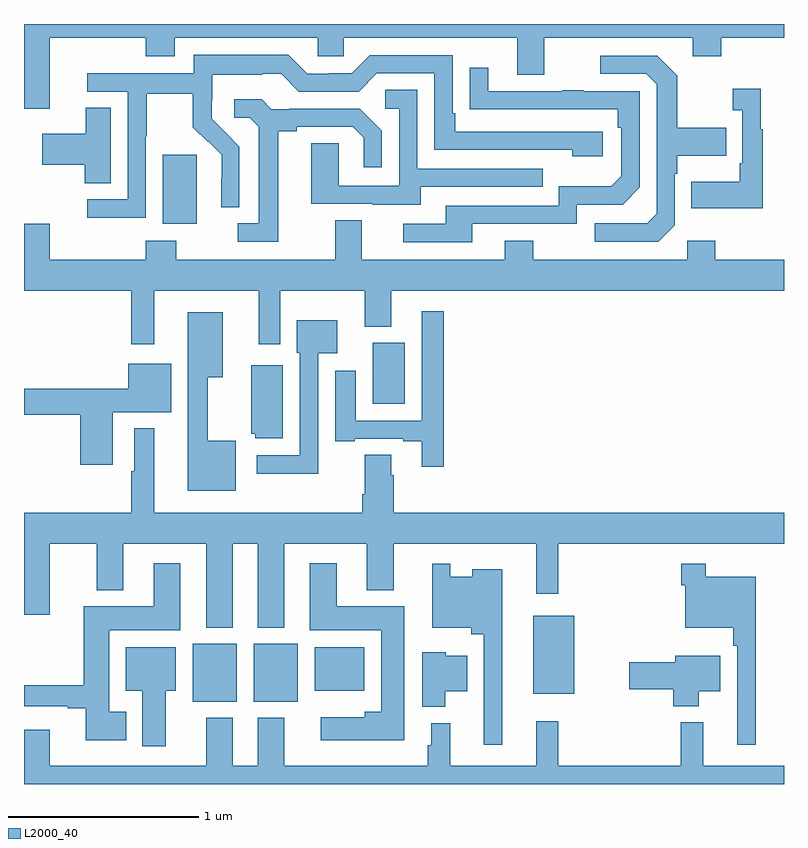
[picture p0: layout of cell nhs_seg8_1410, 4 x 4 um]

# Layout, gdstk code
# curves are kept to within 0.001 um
import gdstk
lib = gdstk.Library(unit=1e-6, precision=1e-09)
def R(c, l, rs):  # rectangles x0, y0, x1, y1
    for r in rs: c.add(gdstk.rectangle(r[:2], r[2:], *l))
def P(c, l, *ps):  # polygons
    for p in ps: c.add(gdstk.Polygon(p, *l))
L2000_40 = (2000, 40)

nhs_seg8_1410 = lib.new_cell('nhs_seg8_1410')
R(nhs_seg8_1410, L2000_40, [(201.887,1118.333,202.12,1118.638), (202.208,1118.333,202.441,1118.638), (203.681,1118.375,203.896,1118.785), (202.529,1118.39,202.792,1118.62), (202.835,1119.902,203.005,1120.222), (201.731,1120.85,201.91,1121.211)])
P(nhs_seg8_1410, L2000_40, [(201,1121.454),(201.136,1121.454),(201.136,1121.828),(201.641,1121.828),(201.641,1121.729),(201.793,1121.729),(201.793,1121.828),(202.545,1121.828),(202.545,1121.73),(202.683,1121.73),(202.683,1121.828),(203.597,1121.828),(203.597,1121.634),(203.737,1121.634),(203.737,1121.828),(204.521,1121.828),(204.521,1121.729),(204.669,1121.729),(204.669,1121.828),(205,1121.828),(205,1121.9),(201,1121.9)],
  [(201.642,1121.308),(201.645,1121.308),(201.645,1121.532),(201.889,1121.532),(201.889,1121.357),(201.966,1121.28),(201.969,1121.283),(202.04,1121.213),(202.04,1121.09),(202.038,1121.09),(202.038,1120.936),(202.134,1120.936),(202.134,1121.254),(201.988,1121.402),(201.988,1121.499),(201.99,1121.499),(201.99,1121.633),(202.253,1121.633),(202.253,1121.637),(202.353,1121.637),(202.446,1121.544),(202.761,1121.544),(202.857,1121.64),(203.16,1121.64),(203.16,1121.238),(203.885,1121.238),(203.885,1121.204),(204.046,1121.204),(204.046,1121.334),(203.269,1121.334),(203.269,1121.431),(203.256,1121.431),(203.256,1121.736),(202.821,1121.736),(202.725,1121.64),(202.607,1121.64),(202.607,1121.637),(202.491,1121.637),(202.391,1121.737),(201.894,1121.737),(201.894,1121.64),(201.333,1121.64),(201.333,1121.544),(201.546,1121.544),(201.546,1120.977),(201.333,1120.977),(201.333,1120.879),(201.642,1120.879)],
  [(204.426,1120.842),(204.426,1121.111),(204.439,1121.111),(204.439,1121.207),(204.695,1121.207),(204.695,1121.355),(204.439,1121.355),(204.439,1121.627),(204.333,1121.733),(204.033,1121.733),(204.033,1121.637),(204.276,1121.637),(204.33,1121.583),(204.33,1120.902),(204.279,1120.851),(204.003,1120.851),(204.003,1120.755),(204.339,1120.755)],
  [(203.359,1120.848),(203.91,1120.848),(203.91,1120.95),(204.15,1120.95),(204.24,1121.04),(204.24,1121.547),(203.945,1121.547),(203.945,1121.552),(203.833,1121.552),(203.833,1121.547),(203.443,1121.547),(203.443,1121.671),(203.347,1121.671),(203.347,1121.452),(204.124,1121.451),(204.124,1121.354),(204.144,1121.354),(204.144,1121.1),(204.091,1121.047),(203.814,1121.047),(203.814,1120.944),(203.219,1120.944),(203.219,1120.848),(202.995,1120.848),(202.995,1120.752),(203.359,1120.752)],
  [(204.889,1121.347),(204.877,1121.347),(204.877,1121.56),(204.729,1121.56),(204.729,1121.447),(204.78,1121.447),(204.78,1121.167),(204.768,1121.167),(204.768,1121.071),(204.511,1121.071),(204.511,1120.931),(204.889,1120.931)],
  [(203.089,1121.043),(203.729,1121.043),(203.729,1121.139),(203.07,1121.139),(203.07,1121.555),(202.902,1121.555),(202.902,1121.454),(202.974,1121.454),(202.974,1121.049),(202.656,1121.049),(202.656,1121.273),(202.511,1121.273),(202.511,1120.953),(202.835,1120.953),(202.835,1120.949),(203.089,1120.949)],
  [(202.339,1121.336),(202.435,1121.336),(202.435,1121.358),(202.73,1121.358),(202.787,1121.301),(202.787,1121.145),(202.884,1121.145),(202.884,1121.338),(202.768,1121.454),(202.396,1121.454),(202.396,1121.451),(202.302,1121.451),(202.25,1121.503),(202.107,1121.503),(202.107,1121.406),(202.188,1121.406),(202.235,1121.359),(202.235,1120.851),(202.125,1120.851),(202.125,1120.755),(202.339,1120.755)],
  [(201.457,1121.459),(201.326,1121.459),(201.326,1121.323),(201.096,1121.323),(201.096,1121.158),(201.319,1121.158),(201.319,1121.062),(201.457,1121.062)],
  [(201.685,1120.496),(202.235,1120.496),(202.235,1120.215),(202.348,1120.215),(202.348,1120.496),(202.793,1120.496),(202.793,1120.307),(202.933,1120.307),(202.933,1120.496),(205,1120.496),(205,1120.66),(204.639,1120.66),(204.639,1120.759),(204.492,1120.759),(204.492,1120.66),(203.679,1120.66),(203.679,1120.759),(203.531,1120.759),(203.531,1120.66),(202.777,1120.66),(202.777,1120.868),(202.637,1120.868),(202.637,1120.66),(201.801,1120.66),(201.801,1120.759),(201.641,1120.759),(201.641,1120.66),(201.136,1120.66),(201.136,1120.849),(201,1120.849),(201,1120.496),(201.564,1120.496),(201.564,1120.215),(201.685,1120.215)],
  [(203.21,1120.387),(203.094,1120.387),(203.094,1119.813),(202.747,1119.813),(202.747,1120.075),(202.637,1120.075),(202.637,1119.705),(202.741,1119.705),(202.741,1119.717),(202.997,1119.717),(202.997,1119.705),(203.093,1119.705),(203.093,1119.57),(203.21,1119.57)],
  [(202.114,1119.706),(201.967,1119.706),(201.967,1120.04),(202.045,1120.04),(202.045,1120.384),(201.863,1120.384),(201.863,1119.443),(202.114,1119.443)],
  [(202.548,1120.166),(202.648,1120.166),(202.648,1120.342),(202.436,1120.342),(202.436,1120.17),(202.452,1120.17),(202.452,1119.63),(202.224,1119.63),(202.224,1119.533),(202.548,1119.533)],
  [(201.466,1119.857),(201.775,1119.857),(201.775,1120.111),(201.548,1120.111),(201.548,1119.98),(201,1119.98),(201,1119.844),(201.296,1119.844),(201.296,1119.579),(201.466,1119.579)],
  [(202.363,1120.105),(202.196,1120.105),(202.196,1119.744),(202.218,1119.744),(202.218,1119.719),(202.363,1119.719)],
  [(202.946,1119.524),(202.933,1119.524),(202.933,1119.632),(202.793,1119.632),(202.793,1119.424),(202.781,1119.424),(202.781,1119.328),(201.685,1119.328),(201.685,1119.772),(201.581,1119.772),(201.581,1119.545),(201.564,1119.545),(201.564,1119.328),(201,1119.328),(201,1118.79),(201.136,1118.79),(201.136,1119.164),(201.383,1119.164),(201.383,1118.921),(201.523,1118.921),(201.523,1119.164),(201.959,1119.164),(201.959,1118.723),(202.099,1118.723),(202.099,1119.164),(202.229,1119.164),(202.229,1118.723),(202.369,1118.723),(202.369,1119.164),(202.805,1119.164),(202.805,1118.921),(202.945,1118.921),(202.945,1119.164),(203.696,1119.164),(203.696,1118.901),(203.813,1118.901),(203.813,1119.164),(205,1119.164),(205,1119.328),(202.946,1119.328)],
  [(203.002,1118.836),(202.645,1118.836),(202.645,1119.061),(202.505,1119.061),(202.505,1118.708),(202.88,1118.708),(202.88,1118.281),(202.793,1118.281),(202.793,1118.251),(202.563,1118.251),(202.563,1118.129),(203.002,1118.129)],
  [(201.538,1118.281),(201.448,1118.281),(201.448,1118.708),(201.823,1118.708),(201.823,1119.061),(201.683,1119.061),(201.683,1118.836),(201.314,1118.836),(201.314,1118.419),(201,1118.419),(201,1118.31),(201.23,1118.31),(201.23,1118.298),(201.326,1118.298),(201.326,1118.129),(201.538,1118.129)],
  [(203.518,1119.031),(203.36,1119.031),(203.36,1118.992),(203.244,1118.992),(203.244,1119.058),(203.148,1119.058),(203.148,1118.723),(203.353,1118.723),(203.353,1118.687),(203.421,1118.687),(203.421,1118.106),(203.518,1118.106)],
  [(204.85,1118.992),(204.589,1118.992),(204.589,1119.058),(204.46,1119.058),(204.46,1118.945),(204.48,1118.945),(204.48,1118.723),(204.733,1118.723),(204.733,1118.627),(204.753,1118.627),(204.753,1118.106),(204.85,1118.106)],
  [(201.745,1118.39),(201.799,1118.39),(201.799,1118.62),(201.536,1118.62),(201.536,1118.39),(201.623,1118.39),(201.623,1118.1),(201.745,1118.1)],
  [(203.218,1118.387),(203.332,1118.387),(203.332,1118.575),(203.22,1118.575),(203.22,1118.593),(203.096,1118.593),(203.096,1118.306),(203.218,1118.306)],
  [(204.55,1118.387),(204.664,1118.387),(204.664,1118.575),(204.428,1118.575),(204.428,1118.54),(204.186,1118.54),(204.186,1118.398),(204.416,1118.398),(204.416,1118.309),(204.55,1118.309)],
  [(201.136,1118.185),(201,1118.185),(201,1117.9),(205,1117.9),(205,1117.996),(204.575,1117.996),(204.575,1118.224),(204.457,1118.224),(204.457,1117.996),(203.813,1117.996),(203.813,1118.23),(203.696,1118.23),(203.696,1117.996),(203.243,1117.996),(203.243,1118.221),(203.144,1118.221),(203.144,1118.103),(203.125,1118.103),(203.125,1117.996),(202.369,1117.996),(202.369,1118.248),(202.229,1118.248),(202.229,1117.996),(202.099,1117.996),(202.099,1118.248),(201.959,1118.248),(201.959,1117.996),(201.136,1117.996)])

lib.write_gds('nhs_seg8_1410.gds')
